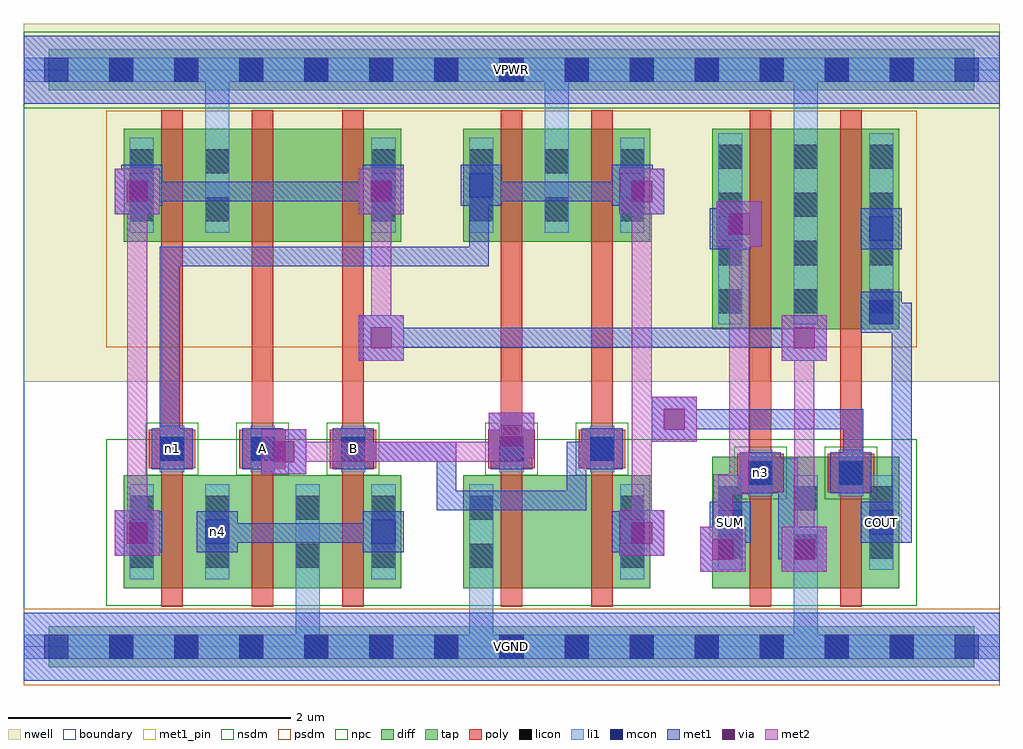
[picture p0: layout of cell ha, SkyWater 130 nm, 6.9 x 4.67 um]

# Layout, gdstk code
import gdstk
lib = gdstk.Library(unit=1e-6, precision=1e-09)
def R(c, l, rs):  # rectangles x0, y0, x1, y1
    for r in rs: c.add(gdstk.rectangle(r[:2], r[2:], *l))
def A(c, l, x, y, w, h, nx, ny, dx, dy):  # array of equal rectangles
    R(c, l, [(x+i*dx, y+j*dy, x+i*dx+w, y+j*dy+h) for i in range(nx) for j in range(ny)])
nwell = (64, 20)
diff = (65, 20)
tap = (65, 44)
poly = (66, 20)
licon = (66, 44)
li1 = (67, 20)
mcon = (67, 44)
met1_pin = (68, 16)
met1 = (68, 20)
via = (68, 44)
met2 = (69, 20)
nsdm = (93, 44)
psdm = (94, 20)
npc = (95, 20)
boundary = (235, 4)

c_ha = lib.new_cell('ha')
R(c_ha, nwell, [(0,1.875,6.9,4.405)])
R(c_ha, diff, [(0.71,0.415,2.67,1.215), (3.11,0.415,4.43,1.215), (4.87,0.415,6.19,1.345), (4.87,2.245,6.19,3.665), (0.71,2.865,2.67,3.665), (3.11,2.865,4.43,3.665)])
R(c_ha, tap, [(0.18,-0.145,6.72,0.145), (0.18,3.935,6.72,4.225)])
A(c_ha, poly, 0.975, 0.285, 0.15, 3.51, 3, 1, 0.64, 0)
A(c_ha, poly, 0.885, 1.265, 0.33, 0.27, 3, 1, 0.64, 0)
R(c_ha, poly, [(3.375,0.285,3.525,3.795), (4.015,0.285,4.165,3.795), (5.135,0.285,5.285,3.795), (5.775,0.285,5.925,3.795), (5.045,1.095,5.375,1.365), (5.685,1.095,6.015,1.365), (3.285,1.265,3.615,1.535), (3.925,1.265,4.255,1.535)])
A(c_ha, licon, 0.605, -0.085, 0.17, 0.17, 13, 2, 0.46, 4.08)
A(c_ha, licon, 4.91, 0.625, 0.17, 0.17, 3, 2, 0.535, 0.34)
A(c_ha, licon, 0.965, 1.315, 0.17, 0.17, 3, 1, 0.64, 0)
A(c_ha, licon, 4.91, 2.36, 0.17, 0.17, 3, 4, 0.535, 0.34)
A(c_ha, licon, 3.15, 3.01, 0.17, 0.17, 3, 2, 0.535, 0.34)
R(c_ha, licon, [(0.75,0.56,0.92,0.73), (1.285,0.56,1.455,0.73), (1.925,0.56,2.095,0.73), (2.46,0.56,2.63,0.73), (3.15,0.56,3.32,0.73), (4.22,0.56,4.39,0.73), (0.75,0.9,0.92,1.07), (1.285,0.9,1.455,1.07), (1.925,0.9,2.095,1.07), (2.46,0.9,2.63,1.07), (3.15,0.9,3.32,1.07), (4.22,0.9,4.39,1.07), (5.125,1.145,5.295,1.315), (5.765,1.145,5.935,1.315), (3.365,1.315,3.535,1.485), (4.005,1.315,4.175,1.485), (0.75,3.01,0.92,3.18), (1.285,3.01,1.455,3.18), (2.46,3.01,2.63,3.18), (0.75,3.35,0.92,3.52), (1.285,3.35,1.455,3.52), (2.46,3.35,2.63,3.52)])
A(c_ha, li1, 4.91, 0.545, 0.17, 0.67, 3, 1, 0.535, 0)
A(c_ha, li1, 0.965, 1.235, 0.17, 0.33, 3, 1, 0.64, 0)
A(c_ha, li1, 4.91, 2.28, 0.17, 1.35, 3, 1, 0.535, 0)
A(c_ha, li1, 3.15, 2.93, 0.17, 0.67, 3, 1, 0.535, 0)
R(c_ha, li1, [(0,-0.085,6.9,0.085), (1.925,-0.085,2.095,1.15), (3.15,-0.085,3.32,1.15), (5.445,-0.085,5.615,1.215), (0.75,0.48,0.92,1.15), (1.285,0.48,1.455,1.15), (1.925,0.48,2.095,1.15), (2.46,0.48,2.63,1.15), (3.15,0.48,3.32,1.15), (4.22,0.48,4.39,1.15), (5.125,1.065,5.295,1.395), (5.765,1.065,5.935,1.395), (3.365,1.235,3.535,1.565), (4.005,1.235,4.175,1.565), (5.445,2.28,5.615,4.165), (0.75,2.93,0.92,3.6), (1.285,2.93,1.455,3.6), (1.285,2.93,1.455,4.165), (2.46,2.93,2.63,3.6), (3.685,2.93,3.855,4.165), (0,3.995,6.9,4.165)])
A(c_ha, mcon, 0.145, -0.085, 0.17, 0.17, 15, 2, 0.46, 4.08)
A(c_ha, mcon, 0.965, 1.315, 0.17, 0.17, 3, 1, 0.64, 0)
R(c_ha, mcon, [(0.75,0.73,0.92,0.9), (1.285,0.73,1.455,0.9), (2.46,0.73,2.63,0.9), (4.22,0.73,4.39,0.9), (4.91,0.795,5.08,0.965), (5.98,0.795,6.15,0.965), (5.125,1.145,5.295,1.315), (5.765,1.145,5.935,1.315), (3.365,1.315,3.535,1.485), (4.005,1.315,4.175,1.485), (5.98,2.28,6.15,2.45), (4.91,2.87,5.08,3.04), (5.98,2.87,6.15,3.04), (0.75,3.18,0.92,3.35), (2.46,3.18,2.63,3.35), (3.15,3.18,3.32,3.35), (4.22,3.18,4.39,3.35)])
R(c_ha, met1_pin, [(0,-0.24,6.9,0.24), (4.85,0.735,5.14,1.025), (5.92,0.735,6.21,1.025), (1.545,1.255,1.835,1.545), (2.185,1.255,2.475,1.545), (0,3.84,6.9,4.32)])
A(c_ha, met1, 0.905, 1.255, 0.29, 0.29, 3, 1, 0.64, 0)
R(c_ha, met1, [(0,-0.24,6.9,0.24), (4.785,0.53,5.105,0.85), (5.36,0.53,5.68,0.85), (4.875,0.62,5.015,0.875), (5.335,0.62,5.59,0.76), (5.335,0.62,5.475,1.335), (0.645,0.645,0.965,0.965), (4.21,0.645,4.53,0.965), (0.69,0.67,0.98,0.96), (1.225,0.67,1.515,0.96), (2.4,0.67,2.69,0.96), (4.16,0.67,4.45,0.96), (0.735,0.735,0.875,0.875), (1.31,0.735,1.45,0.875), (1.31,0.735,2.6,0.875), (2.46,0.735,2.6,0.875), (4.3,0.735,4.44,0.875), (4.85,0.735,5.14,1.025), (4.875,0.735,5.015,0.875), (5.92,0.735,6.21,1.025), (6.025,0.735,6.165,0.875), (6.025,0.735,6.28,0.875), (6.14,0.735,6.28,2.255), (2.92,0.965,3.06,1.45), (2.92,0.965,3.98,1.105), (3.84,0.965,3.98,1.45), (5.065,1.085,5.355,1.375), (5.705,1.085,5.995,1.375), (5.105,1.195,5.245,1.335), (5.105,1.195,5.475,1.335), (5.795,1.195,5.935,1.335), (5.795,1.195,5.935,1.68), (1.68,1.22,2,1.54), (3.305,1.255,3.595,1.545), (3.945,1.255,4.235,1.545), (0.965,1.31,1.105,1.45), (0.965,1.31,1.105,2.83), (1.655,1.31,1.795,1.45), (1.655,1.31,1.91,1.45), (2.23,1.31,2.37,1.45), (2.23,1.31,3.06,1.45), (3.38,1.31,3.52,1.45), (3.38,1.31,3.52,1.565), (3.84,1.31,4.095,1.45), (3.955,1.31,4.095,1.45), (3.29,1.335,3.61,1.655), (4.44,1.45,4.76,1.77), (4.53,1.54,5.935,1.68), (2.37,2.025,2.69,2.345), (5.36,2.025,5.68,2.345), (2.46,2.115,5.59,2.255), (6.14,2.115,6.28,2.435), (5.92,2.22,6.21,2.51), (5.995,2.295,6.28,2.435), (0.965,2.69,3.29,2.83), (3.15,2.69,3.29,3.29), (4.85,2.81,5.14,3.1), (5.92,2.81,6.21,3.1), (4.9,2.83,5.22,3.15), (4.99,2.92,5.13,3.06), (0.645,3.06,0.965,3.38), (2.37,3.06,2.69,3.38), (4.21,3.06,4.53,3.38), (0.69,3.12,0.98,3.41), (2.4,3.12,2.69,3.41), (3.09,3.12,3.38,3.41), (4.16,3.12,4.45,3.41), (0.735,3.15,0.875,3.29), (0.735,3.15,2.6,3.29), (2.46,3.15,2.6,3.29), (3.15,3.15,3.29,3.29), (3.15,3.15,4.325,3.29), (4.185,3.15,4.325,3.29), (4.185,3.15,4.44,3.29), (0,3.84,6.9,4.32)])
R(c_ha, via, [(4.87,0.615,5.02,0.765), (5.445,0.615,5.595,0.765), (0.73,0.73,0.88,0.88), (4.295,0.73,4.445,0.88), (1.765,1.305,1.915,1.455), (3.375,1.42,3.525,1.57), (4.525,1.535,4.675,1.685), (2.455,2.11,2.605,2.26), (5.445,2.11,5.595,2.26), (4.985,2.915,5.135,3.065), (0.73,3.145,0.88,3.295), (2.455,3.145,2.605,3.295), (4.295,3.145,4.445,3.295)])
R(c_ha, met2, [(4.785,0.53,5.105,0.85), (5.36,0.53,5.68,0.85), (4.875,0.62,5.015,1.22), (5.45,0.62,5.59,2.255), (0.645,0.645,0.965,0.965), (4.21,0.645,4.53,0.965), (0.735,0.735,0.875,3.29), (4.3,0.735,4.44,3.29), (4.875,1.08,5.13,1.22), (4.99,1.08,5.13,3.06), (1.68,1.22,2,1.54), (1.77,1.31,3.52,1.45), (3.38,1.31,3.52,1.565), (3.29,1.335,3.61,1.655), (4.44,1.45,4.76,1.77), (4.3,1.54,4.67,1.68), (2.37,2.025,2.69,2.345), (5.36,2.025,5.68,2.345), (2.46,2.115,2.6,3.29), (4.9,2.83,5.22,3.15), (0.645,3.06,0.965,3.38), (2.37,3.06,2.69,3.38), (4.21,3.06,4.53,3.38)])
R(c_ha, nsdm, [(0.585,0.29,6.315,1.47), (0,3.81,6.9,4.35)])
R(c_ha, psdm, [(0,-0.27,6.9,0.27), (0.585,2.12,6.315,3.79)])
A(c_ha, npc, 0.865, 1.215, 0.37, 0.37, 3, 1, 0.64, 0)
R(c_ha, npc, [(5.025,1.045,5.395,1.415), (5.665,1.045,6.035,1.415), (3.265,1.215,3.635,1.585), (3.905,1.215,4.275,1.585)])
R(c_ha, boundary, [(0,0,6.9,4.08)])
c_ha.add(gdstk.Label('n1', (1.05,1.4), layer=67, texttype=5))
c_ha.add(gdstk.Label('n3', (5.21,1.23), layer=67, texttype=5))
c_ha.add(gdstk.Label('n4', (1.37,0.815), layer=67, texttype=5))
c_ha.add(gdstk.Label('A', (1.69,1.4), layer=68, texttype=5))
c_ha.add(gdstk.Label('B', (2.33,1.4), layer=68, texttype=5))
c_ha.add(gdstk.Label('SUM', (4.995,0.88), layer=68, texttype=5))
c_ha.add(gdstk.Label('COUT', (6.065,0.88), layer=68, texttype=5))
c_ha.add(gdstk.Label('VPWR', (3.45,4.08), layer=68, texttype=5))
c_ha.add(gdstk.Label('VGND', (3.45,0), layer=68, texttype=5))
c_ha.add(gdstk.Label('A', (1.69,1.4), layer=68, texttype=16))
c_ha.add(gdstk.Label('B', (2.33,1.4), layer=68, texttype=16))
c_ha.add(gdstk.Label('SUM', (4.995,0.88), layer=68, texttype=16))
c_ha.add(gdstk.Label('COUT', (6.065,0.88), layer=68, texttype=16))
c_ha.add(gdstk.Label('VPWR', (3.45,4.08), layer=68, texttype=16))
c_ha.add(gdstk.Label('VGND', (3.45,0), layer=68, texttype=16))

lib.write_gds('ha.gds')
